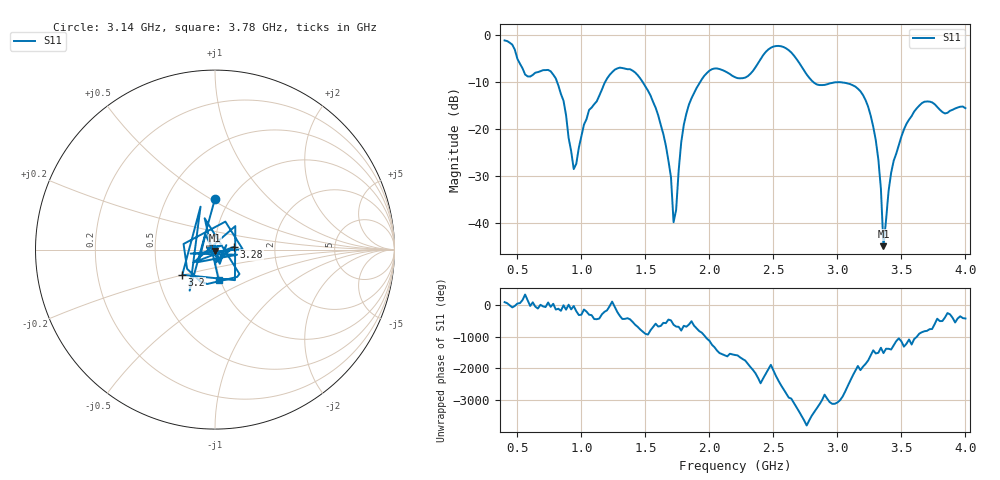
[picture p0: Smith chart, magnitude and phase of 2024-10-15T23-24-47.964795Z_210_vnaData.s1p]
! Created with skrf (http://scikit-rf.org).
# Hz S RI R 50.0
!freq ReS11 ImS11
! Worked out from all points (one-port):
!   181 points, 400 MHz to 4 GHz, reference 50 ohm
!   lowest |S11| = -44.8 dB at 3.36 GHz (marker M1), VSWR 1.01, Z = 50.1 - j0.567 ohm
!   |S11| at or under -10 dB: 810.1 MHz to 1.186 GHz (375.4 MHz wide, 37.6 % of centre); 1.478 GHz to 1.928 GHz (449.3 MHz wide, 26.4 % of centre); 2.811 GHz to end of sweep
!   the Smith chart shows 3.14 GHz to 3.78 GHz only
!   S11 on the Smith chart (normalised r, x): 3.14 GHz: 0.85, +0.52; 3.2 GHz: 0.67, -0.20; 3.28 GHz: 1.23, +0.04; 3.78 GHz: 0.98, -0.35
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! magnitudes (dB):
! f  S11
! 400 MHz  -1.2
! 580 MHz  -8.8
! 760 MHz  -7.7
! 860 MHz  -14.0
! 940 MHz  -28.5
! 1.06 GHz  -15.9
! 1.3 GHz  -7.0
! 1.58 GHz  -15.5
! 1.68 GHz  -26.7
! 1.7 GHz  -30.2
! 1.72 GHz  -39.7
! 1.76 GHz  -28.7
! 1.82 GHz  -16.7
! 1.92 GHz  -10.3
! 2.2 GHz  -9.0
! 2.5 GHz  -2.5
! 2.66 GHz  -4.4
! 2.84 GHz  -10.5
! 3.1 GHz  -10.5
! 3.14 GHz  -11.0
! 3.2 GHz  -12.8
! 3.28 GHz  -19.5
! 3.34 GHz  -32.7
! 3.36 GHz  -44.8
! 3.42 GHz  -29.2
! 3.56 GHz  -18.0
! 3.78 GHz  -15.3
! 4 GHz  -15.6
